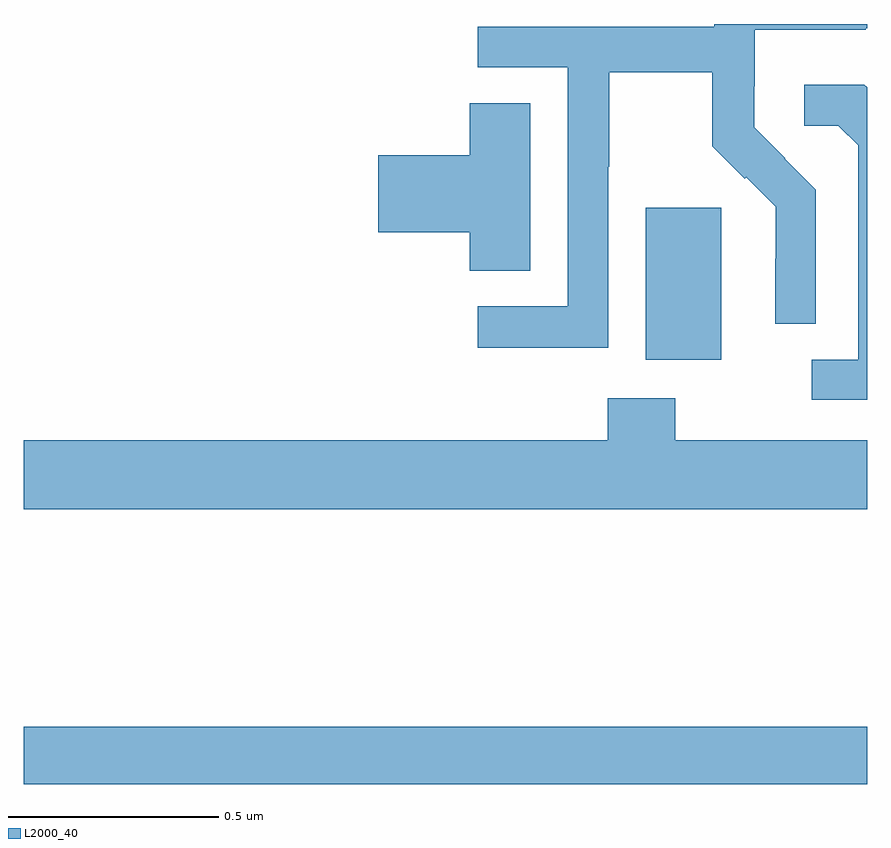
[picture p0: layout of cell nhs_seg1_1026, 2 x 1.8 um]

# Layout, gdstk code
import gdstk
lib = gdstk.Library(unit=1e-6, precision=1e-09)
def R(c, l, rs):  # rectangles x0, y0, x1, y1
    for r in rs: c.add(gdstk.rectangle(r[:2], r[2:], *l))
def P(c, l, *ps):  # polygons
    for p in ps: c.add(gdstk.Polygon(p, *l))
L2000_40 = (2000, 40)

nhs_seg1_1026 = lib.new_cell('nhs_seg1_1026')
R(nhs_seg1_1026, L2000_40, [(123,568.396,125,568.532), (124.475,569.402,124.654,569.763)])
P(nhs_seg1_1026, L2000_40, [(124.386,569.86),(124.389,569.86),(124.389,570.084),(124.633,570.084),(124.633,569.909),(124.71,569.832),(124.713,569.835),(124.784,569.765),(124.784,569.642),(124.782,569.642),(124.782,569.488),(124.878,569.488),(124.878,569.806),(124.805,569.879),(124.806,569.88),(124.732,569.954),(124.732,570.051),(124.734,570.051),(124.734,570.185),(124.997,570.185),(124.997,570.189),(125,570.189),(125,570.199),(124.638,570.199),(124.638,570.192),(124.077,570.192),(124.077,570.096),(124.29,570.096),(124.29,569.529),(124.077,569.529),(124.077,569.431),(124.386,569.431)],
  [(125,570.049),(124.994,570.055),(124.851,570.055),(124.851,569.958),(124.932,569.958),(124.979,569.911),(124.979,569.403),(124.869,569.403),(124.869,569.307),(125,569.307)],
  [(124.201,570.011),(124.058,570.011),(124.058,569.888),(123.84,569.888),(123.84,569.705),(124.058,569.705),(124.058,569.614),(124.201,569.614)],
  [(125,569.212),(124.545,569.212),(124.545,569.311),(124.385,569.311),(124.385,569.212),(123,569.212),(123,569.048),(125,569.048)])

lib.write_gds('nhs_seg1_1026.gds')
